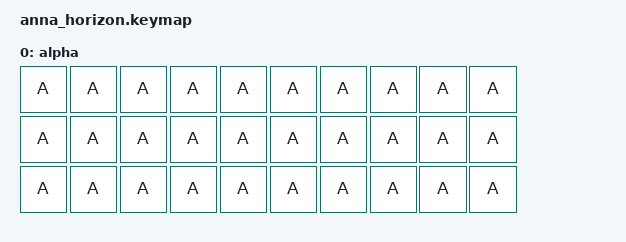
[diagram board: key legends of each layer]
/*
 * Copyright (c) 2021 The ZMK Contributors
 *
 * SPDX-License-Identifier: MIT
 */

#include <behaviors.dtsi>
#include <dt-bindings/zmk/keys.h>

/ {
  
  keymap {
    compatible = "zmk,keymap";

    alpha {
      bindings = <
        &kp A &kp A &kp A &kp A &kp A &kp A &kp A &kp A &kp A &kp A 
        &kp A &kp A &kp A &kp A &kp A &kp A &kp A &kp A &kp A &kp A 
        &kp A &kp A &kp A &kp A &kp A &kp A &kp A &kp A &kp A &kp A 
      >;
    };
  };
};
